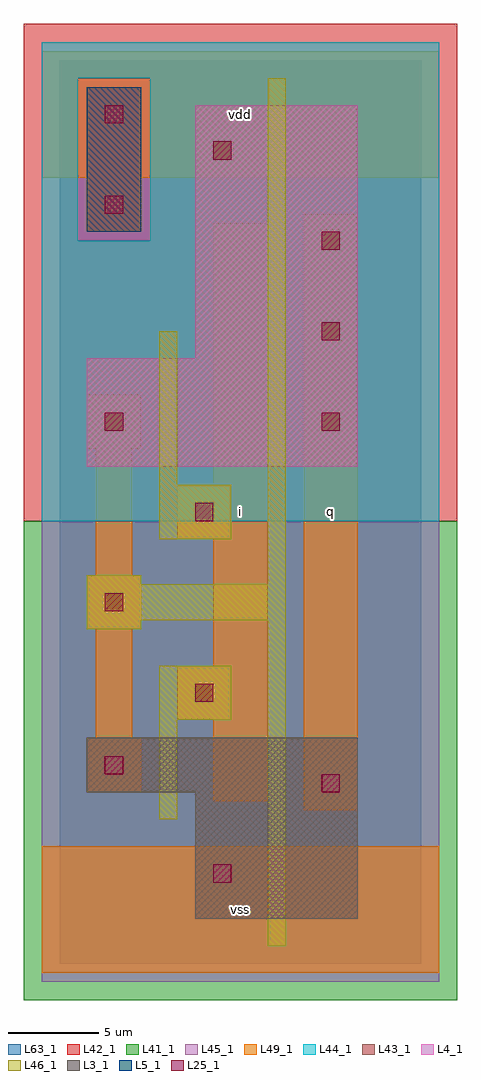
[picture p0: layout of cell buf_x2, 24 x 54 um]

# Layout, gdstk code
import gdstk
lib = gdstk.Library(unit=1e-6, precision=1e-09)
def R(c, l, rs):  # rectangles x0, y0, x1, y1
    for r in rs: c.add(gdstk.rectangle(r[:2], r[2:], *l))
def A(c, l, x, y, w, h, nx, ny, dx, dy):  # array of equal rectangles
    R(c, l, [(x+i*dx, y+j*dy, x+i*dx+w, y+j*dy+h) for i in range(nx) for j in range(ny)])
L3_1 = (3, 1)
L4_1 = (4, 1)
L5_1 = (5, 1)
L25_1 = (25, 1)
L41_1 = (41, 1)
L42_1 = (42, 1)
L43_1 = (43, 1)
L44_1 = (44, 1)
L45_1 = (45, 1)
L46_1 = (46, 1)
L49_1 = (49, 1)
L63_1 = (63, 1)

buf_x2 = lib.new_cell('buf_x2')
R(buf_x2, L3_1, [(7.5,2.5,16.5,9.5), (1.5,9.5,16.5,12.5)])
R(buf_x2, L4_1, [(1.5,27.5,16.5,33.5), (7.5,33.5,16.5,47.5)])
R(buf_x2, L5_1, [(1.5,40.5,4.5,48.5)])
A(buf_x2, L25_1, 14.5, 29.5, 1, 1, 1, 3, 0, 5)
R(buf_x2, L25_1, [(8.5,4.5,9.5,5.5), (14.5,9.5,15.5,10.5), (2.5,10.5,3.5,11.5), (7.5,14.5,8.5,15.5), (2.5,19.5,3.5,20.5), (7.5,24.5,8.5,25.5), (2.5,29.5,3.5,30.5), (2.5,41.5,3.5,42.5), (8.5,44.5,9.5,45.5), (2.5,46.5,3.5,47.5)])
R(buf_x2, L41_1, [(-2,-2,22,24.5)])
R(buf_x2, L42_1, [(-2,24.5,22,52)])
R(buf_x2, L43_1, [(7.5,2.5,16.5,9.5), (1.5,9.5,16.5,12.5), (1.5,27.5,16.5,33.5), (7.5,33.5,16.5,47.5), (1.5,40.5,4.5,48.5)])
R(buf_x2, L44_1, [(-1,24.5,21,40), (-1,40,1,49), (5,40,21,49), (-1,49,21,51)])
R(buf_x2, L45_1, [(-1,-1,21,24.5), (1,40,5,49)])
R(buf_x2, L46_1, [(11.5,1,12.5,19), (5.5,8,6.5,13.5), (5.5,13.5,9.5,16.5), (1.5,18.5,4.5,19), (1.5,19,12.5,21), (1.5,21,4.5,21.5), (11.5,21,12.5,49), (5.5,23.5,9.5,26.5), (5.5,26.5,6.5,35)])
R(buf_x2, L49_1, [(-1,-0.5,21,6.5), (13.5,8.5,16.5,41.5), (8.5,9,11.5,13.5), (1.5,9.5,4.5,12.5), (2,12.5,4,18.5), (6.5,13.5,11.5,16.5), (8.5,16.5,11.5,23.5), (1.5,18.5,4.5,21.5), (2,21.5,4,28.5), (6.5,23.5,11.5,26.5), (8.5,26.5,11.5,41), (1.5,28.5,4.5,31.5), (1.5,40.5,4.5,43.5), (-1,43.5,21,50.5)])
R(buf_x2, L63_1, [(0,0,20,50)])
buf_x2.add(gdstk.Label('vss', (10,3), layer=49, texttype=1))
buf_x2.add(gdstk.Label('vss', (10,3), layer=49, texttype=1))
buf_x2.add(gdstk.Label('q', (15,25), layer=49, texttype=1))
buf_x2.add(gdstk.Label('q', (15,25), layer=49, texttype=1))
buf_x2.add(gdstk.Label('i', (10,25), layer=49, texttype=1))
buf_x2.add(gdstk.Label('i', (10,25), layer=49, texttype=1))
buf_x2.add(gdstk.Label('vdd', (10,47), layer=49, texttype=1))
buf_x2.add(gdstk.Label('vdd', (10,47), layer=49, texttype=1))

lib.write_gds('buf_x2.gds')
